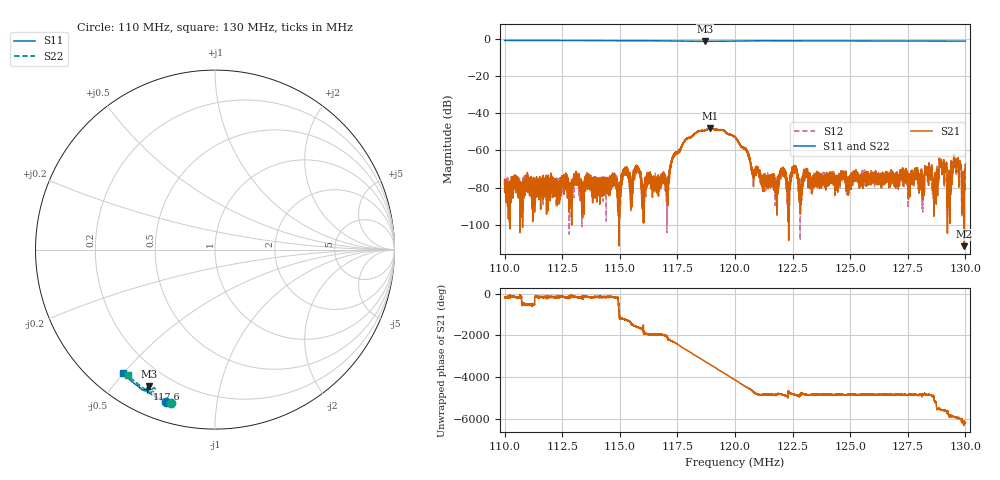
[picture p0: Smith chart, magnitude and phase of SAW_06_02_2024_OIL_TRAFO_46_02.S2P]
!Agilent Technologies,E5071C,MY46520923,B.12.03
!Date: Tue Feb 06 09:20:24 2024
!Data & Calibration Information:
!Freq	S11:SOLT2(ON)	S21:SOLT2(ON)	S12:SOLT2(ON)	S22:SOLT2(ON)
!PortZ  Port1:50+j0  Port2:50+j0
!Above PortZ is port z conversion or system Z0 setting when saving the data.
!When reading, reference impedance value at option line is always used.
# Hz S dB R 50
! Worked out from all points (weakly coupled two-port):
!   10000 points, 110 MHz to 130 MHz, reference 50 ohm
!   highest |S21| = -47.96 dB at 118.9 MHz (marker M1); lowest = -111.4 dB at 129.9 MHz (marker M2)
!   lowest |S11| = -1.5 dB at 118.7 MHz (marker M3), VSWR 11.99, Z = 5.8 - j31.2 ohm
!   |S11| at or under -10 dB: nowhere
!   |S22| runs from -1.5 to -1.0 dB; largest |S21 - S12| = 0.00018
!   S11 on the Smith chart (normalised r, x): 110 MHz: 0.09, -0.73; 117.6 MHz: 0.10, -0.62; 130 MHz: 0.10, -0.50
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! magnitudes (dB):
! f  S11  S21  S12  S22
! 110 MHz  -1.0  -75.7  -75.6  -1.0
! 113.3 MHz  -1.0  -80.9  -79.7  -1.1
! 115 MHz  -1.1  -83.6  -84.4  -1.1
! 115.2 MHz  -1.1  -73.4  -69.4  -1.2
! 115.5 MHz  -1.1  -78.5  -87.0  -1.2
! 115.7 MHz  -1.1  -68.7  -69.2  -1.2
! 116 MHz  -1.1  -93.9  -90.6  -1.2
! 116.7 MHz  -1.1  -77.3  -79.7  -1.2
! 117.1 MHz  -1.2  -81.9  -78.1  -1.2
! 117.6 MHz  -1.3  -60.0  -59.6  -1.3
! 118.7 MHz  -1.5  -49.2  -49.4  -1.5
! 118.9 MHz  -1.4  -48.0  -48.1  -1.5
! 120 MHz  -1.2  -52.9  -52.8  -1.3
! 121.2 MHz  -1.1  -76.6  -75.6  -1.2
! 123.3 MHz  -1.2  -79.5  -77.2  -1.2
! 126.7 MHz  -1.3  -74.3  -72.4  -1.3
! 128.7 MHz  -1.3  -76.7  -76.5  -1.4
! 129 MHz  -1.3  -66.9  -66.7  -1.4
! 129.3 MHz  -1.3  -72.5  -73.0  -1.4
! 129.6 MHz  -1.3  -66.4  -66.6  -1.4
! 129.9 MHz  -1.3  -111.4  -83.7  -1.4
! 130 MHz  -1.3  -67.4  -67.4  -1.4
